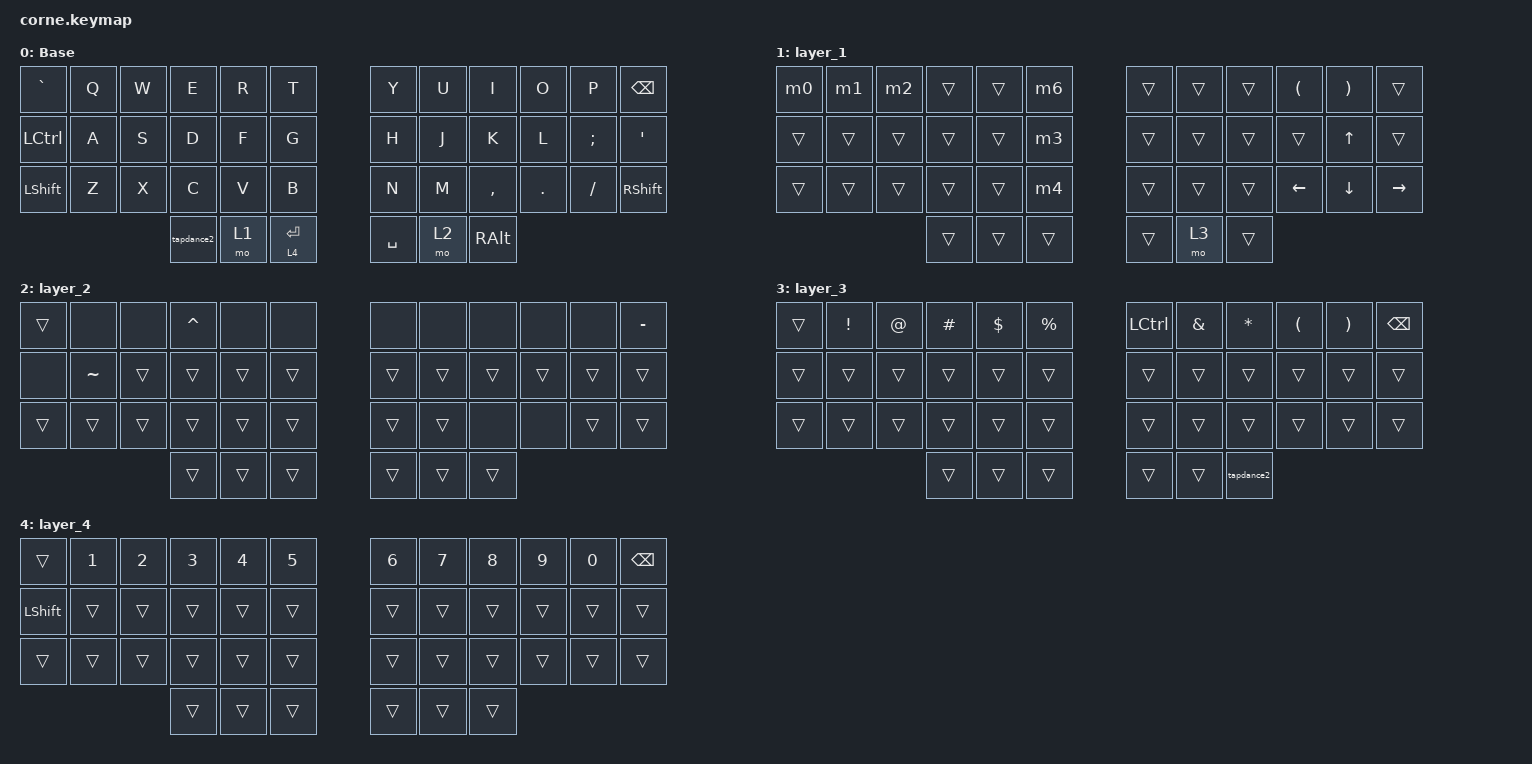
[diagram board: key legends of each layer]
/*
 * Copyright (c) 2020 The ZMK Contributors
 *
 * SPDX-License-Identifier: MIT
 */

#include <behaviors.dtsi>
#include <dt-bindings/zmk/keys.h>

/ {
    macros {
        m0: m0 {
            compatible = "zmk,behavior-macro";
            #binding-cells = <0>;
            bindings = <&kp N2 &kp N4 &kp N3 &kp N5 &kp N9 &kp N2>;
            label = "M0";
        };

        m1: m1 {
            compatible = "zmk,behavior-macro";
            #binding-cells = <0>;
            bindings = <&kp N0 &kp N8 &kp N6 &kp N6 &kp N2 &kp N1 &kp N1 &kp N0 &kp N9 &kp N8 &kp N3 &kp TAB &kp AT &kp O &kp LS(R) &kp N &kp N &kp J &kp Z &kp C &kp LS(K) &kp N9 &kp N &kp ENTER>;
            label = "M1";
        };

        m2: m2 {
            compatible = "zmk,behavior-macro";
            #binding-cells = <0>;
            bindings = <&none &kp N0 &kp N8 &kp N6 &kp N6 &kp N2 &kp N1 &kp N1 &kp N0 &kp N9 &kp N8 &kp N3 &kp TAB &kp AT &kp K &kp N6 &kp LS(R) &kp W &kp N6 &kp K &kp Z &kp M &kp A &kp ENTER>;
            label = "M2";
        };

        m3: m3 {
            compatible = "zmk,behavior-macro";
            #binding-cells = <0>;
            bindings = <&kp LEFT_PARENTHESIS &kp LC(B) &kp M &kp O &kp V &kp DOT &kp SPACE &kp LC(B) &kp RPAR &kp LEFT_ARROW>;
            label = "M3";
        };

        m4: m4 {
            compatible = "zmk,behavior-macro";
            #binding-cells = <0>;
            bindings = <&kp LPAR &kp DOT &kp DOT &kp DOT &kp RPAR>;
            label = "M4";
        };

        m5: m5 {
            compatible = "zmk,behavior-macro";
            #binding-cells = <0>;
            bindings = <&none &kp LS(E) &kp S &kp C &kp R &kp E &kp V &kp A &kp SPACE &kp M &kp E &kp L &kp H &kp O &kp R &kp COLON &kp RET &kp RET &kp LC(C)>;
            label = "M5";
        };

        m6: m6 {
            compatible = "zmk,behavior-macro";
            #binding-cells = <0>;
            bindings = <&kp LC(B) &kp M &kp O &kp V &kp DOT &kp SPACE>;
            label = "M6";
        };

        m7: m7 {
            compatible = "zmk,behavior-macro";
            #binding-cells = <0>;
            bindings = <&none>;
            label = "M7";
        };
    };

    behaviors {
        tapdance1: tapdance1 {
            compatible = "zmk,behavior-tap-dance";
            label = "TAPDANCE1";
            #binding-cells = <0>;
            bindings = <&kp BACKSPACE>, <&kp SPACE>, <&mo 3>;
        };

        tapdance2: tapdance2 {
            compatible = "zmk,behavior-tap-dance";
            label = "TAPDANCE2";
            #binding-cells = <0>;
            bindings = <&kp DEL>, <&kp ENTER>;
        };
    };

    keymap {
        compatible = "zmk,keymap";

        default_layer {
            // -----------------------------------------------------------------------------------------
            // |  TAB |  Q  |  W  |  E  |  R  |  T  |   |  Y  |  U   |  I  |  O  |  P  | BKSP |
            // | CTRL |  A  |  S  |  D  |  F  |  G  |   |  H  |  J   |  K  |  L  |  ;  |  '   |
            // | SHFT |  Z  |  X  |  C  |  V  |  B  |   |  N  |  M   |  ,  |  .  |  /  | ESC  |
            //                    | GUI | LWR | SPC |   | ENT | RSE  | ALT |

            display-name = "Base";
            bindings = <
&kp GRAVE  &kp Q  &kp W  &kp E       &kp R  &kp T          &kp Y      &kp U  &kp I      &kp O    &kp P     &kp BSPC
&kp LCTRL  &kp A  &kp S  &kp D       &kp F  &kp G          &kp H      &kp J  &kp K      &kp L    &kp SEMI  &kp SQT
&kp LSHFT  &kp Z  &kp X  &kp C       &kp V  &kp B          &kp N      &kp M  &kp COMMA  &kp DOT  &kp FSLH  &kp RIGHT_SHIFT
                         &tapdance2  &mo 1  &lt 4 ENTER    &kp SPACE  &mo 2  &kp RALT
            >;
        };

        layer_1 {
            bindings = <
&m0     &m1     &m2     &trans  &trans  &m6       &trans  &trans  &trans  &kp LEFT_PARENTHESIS  &kp RIGHT_PARENTHESIS  &trans
&trans  &trans  &trans  &trans  &trans  &m3       &trans  &trans  &trans  &trans                &kp UP_ARROW           &trans
&trans  &trans  &trans  &trans  &trans  &m4       &trans  &trans  &trans  &kp LEFT_ARROW        &kp DOWN_ARROW         &kp RIGHT_ARROW
                        &trans  &trans  &trans    &trans  &mo 3   &trans
            >;
        };

        layer_2 {
            bindings = <
&trans  &none      &none   &kp CARET  &none   &none     &none   &none   &none   &none   &none   &kp MINUS
&none   &kp TILDE  &trans  &trans     &trans  &trans    &trans  &trans  &trans  &trans  &trans  &trans
&trans  &trans     &trans  &trans     &trans  &trans    &trans  &trans  &none   &none   &trans  &trans
                           &trans     &trans  &trans    &trans  &trans  &trans
            >;
        };

        layer_3 {
            bindings = <
&trans  &kp EXCLAMATION  &kp AT_SIGN  &kp HASH  &kp DOLLAR  &kp PERCENT    &kp LCTRL  &kp AMPERSAND  &kp ASTERISK  &kp LEFT_PARENTHESIS  &kp RIGHT_PARENTHESIS  &kp BACKSPACE
&trans  &trans           &trans       &trans    &trans      &trans         &trans     &trans         &trans        &trans                &trans                 &trans
&trans  &trans           &trans       &trans    &trans      &trans         &trans     &trans         &trans        &trans                &trans                 &trans
                                      &trans    &trans      &trans         &trans     &trans         &tapdance2
            >;
        };

        layer_4 {
            bindings = <
&trans          &kp NUMBER_1  &kp NUMBER_2  &kp NUMBER_3  &kp NUMBER_4  &kp N5    &kp NUMBER_6  &kp N7  &kp N8  &kp N9  &kp N0  &kp BACKSPACE
&kp LEFT_SHIFT  &trans        &trans        &trans        &trans        &trans    &trans        &trans  &trans  &trans  &trans  &trans
&trans          &trans        &trans        &trans        &trans        &trans    &trans        &trans  &trans  &trans  &trans  &trans
                                            &trans        &trans        &trans    &trans        &trans  &trans
            >;
        };
    };
};
